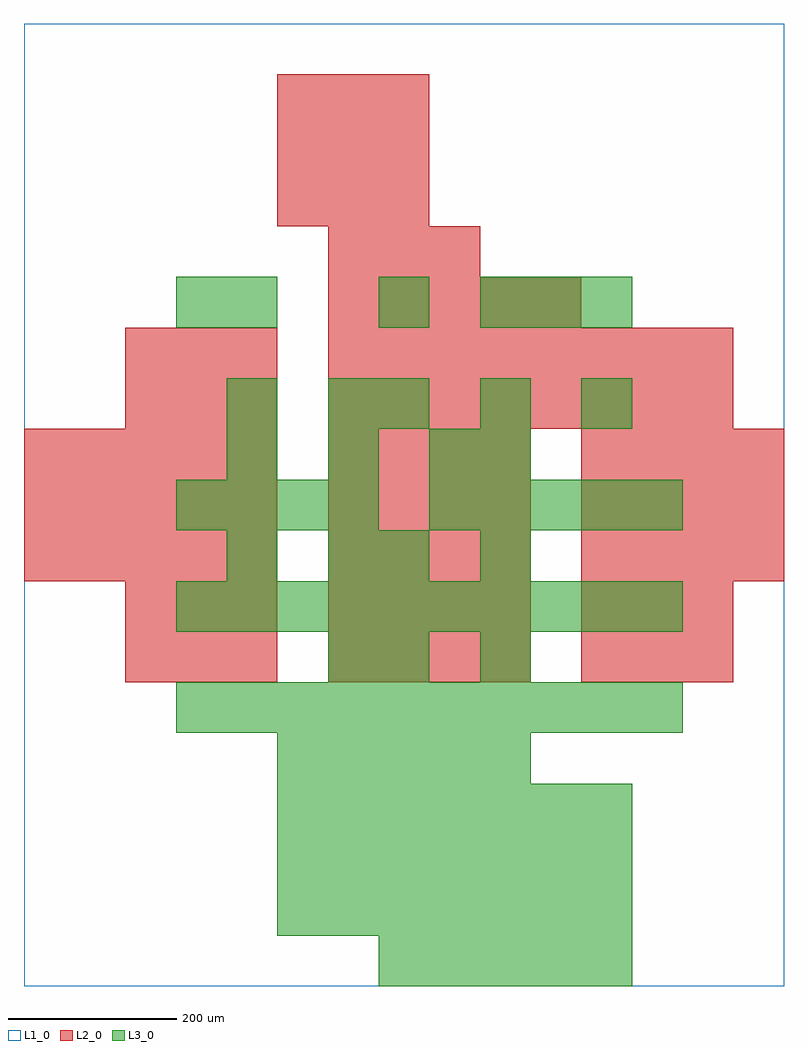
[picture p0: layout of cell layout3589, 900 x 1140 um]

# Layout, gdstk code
import gdstk
lib = gdstk.Library(unit=1e-6, precision=1e-09)
def R(c, l, rs):  # rectangles x0, y0, x1, y1
    for r in rs: c.add(gdstk.rectangle(r[:2], r[2:], *l))
def A(c, l, x, y, w, h, nx, ny, dx, dy):  # array of equal rectangles
    R(c, l, [(x+i*dx, y+j*dy, x+i*dx+w, y+j*dy+h) for i in range(nx) for j in range(ny)])
L1_0 = (1, 0)
L2_0 = (2, 0)
L3_0 = (3, 0)

layout3589 = lib.new_cell('layout3589')
R(layout3589, L1_0, [(0,0,900,1140)])
A(layout3589, L2_0, 120, 360, 60, 60, 3, 2, 60, 60)
A(layout3589, L2_0, 360, 360, 60, 60, 4, 5, 60, 60)
A(layout3589, L2_0, 660, 360, 60, 60, 3, 2, 60, 60)
A(layout3589, L2_0, 0, 480, 60, 60, 5, 3, 60, 60)
A(layout3589, L2_0, 660, 480, 60, 60, 4, 3, 60, 60)
A(layout3589, L2_0, 120, 660, 60, 60, 3, 2, 60, 60)
A(layout3589, L2_0, 360, 660, 60, 60, 8, 2, 60, 60)
A(layout3589, L2_0, 360, 780, 60, 60, 5, 1, 60, 0)
A(layout3589, L2_0, 360, 840, 60, 60, 3, 1, 60, 0)
A(layout3589, L2_0, 300, 900, 60, 60, 3, 3, 60, 60)
A(layout3589, L3_0, 420, 0, 60, 60, 5, 1, 60, 0)
A(layout3589, L3_0, 300, 60, 60, 60, 7, 3, 60, 60)
A(layout3589, L3_0, 300, 240, 60, 60, 5, 1, 60, 0)
A(layout3589, L3_0, 180, 300, 60, 60, 10, 2, 60, 120)
A(layout3589, L3_0, 540, 360, 60, 60, 1, 3, 0, 120)
A(layout3589, L3_0, 180, 540, 60, 60, 4, 1, 60, 0)
A(layout3589, L3_0, 480, 540, 60, 60, 5, 1, 60, 0)
A(layout3589, L3_0, 240, 600, 60, 60, 3, 1, 120, 0)
A(layout3589, L3_0, 420, 660, 60, 60, 3, 1, 120, 0)
A(layout3589, L3_0, 540, 780, 60, 60, 3, 1, 60, 0)
R(layout3589, L3_0, [(360,360,420,420), (420,360,480,420), (240,480,300,540), (360,480,420,540), (420,480,480,540), (240,660,300,720), (360,660,420,720), (180,780,240,840), (240,780,300,840), (420,780,480,840)])

lib.write_gds('layout3589.gds')
